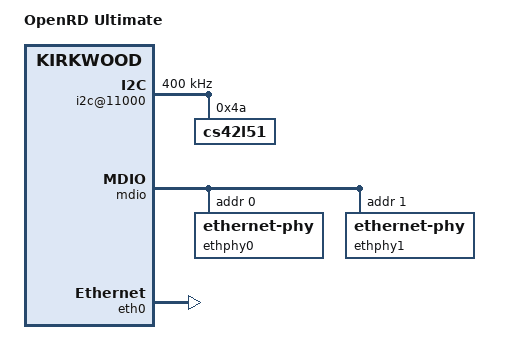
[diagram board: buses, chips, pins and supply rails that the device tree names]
/*
 * Marvell OpenRD Ultimate Board descrition
 *
 * Andrew Lunn <andrew@lunn.ch>
 *
 * This file is licensed under the terms of the GNU General Public
 * License version 2.  This program is licensed "as is" without any
 * warranty of any kind, whether express or implied.
 *
 * This file contains the definitions that are specific to OpenRD
 * ultimate variant of the Marvell Kirkwood Development Board.
 */

/dts-v1/;

#include "kirkwood-openrd.dtsi"

/ {
	model = "OpenRD Ultimate";
	compatible = "marvell,openrd-ultimate", "marvell,openrd", "marvell,kirkwood-88f6281", "marvell,kirkwood";

	ocp@f1000000 {
		i2c@11000 {
			status = "okay";
			clock-frequency = <400000>;
			pinctrl-0 = <&pmx_twsi0>;
			pinctrl-names = "default";

			cs42l51: cs42l51@4a {
				compatible = "cs42l51";
				reg = <0x4a>;
			};
		};
	};
};

&mdio {
	status = "okay";

	ethphy0: ethernet-phy@0 {
		device_type = "ethernet-phy";
		reg = <0>;
	};
	ethphy1: ethernet-phy@1 {
		device_type = "ethernet-phy";
		reg = <1>;
	};
};

&eth0 {
	status = "okay";
	ethernet0-port@0 {
		phy-handle = <&ethphy0>;
	};
	ethernet1-port@0 {
		phy-handle = <&ethphy1>;
	};
};
